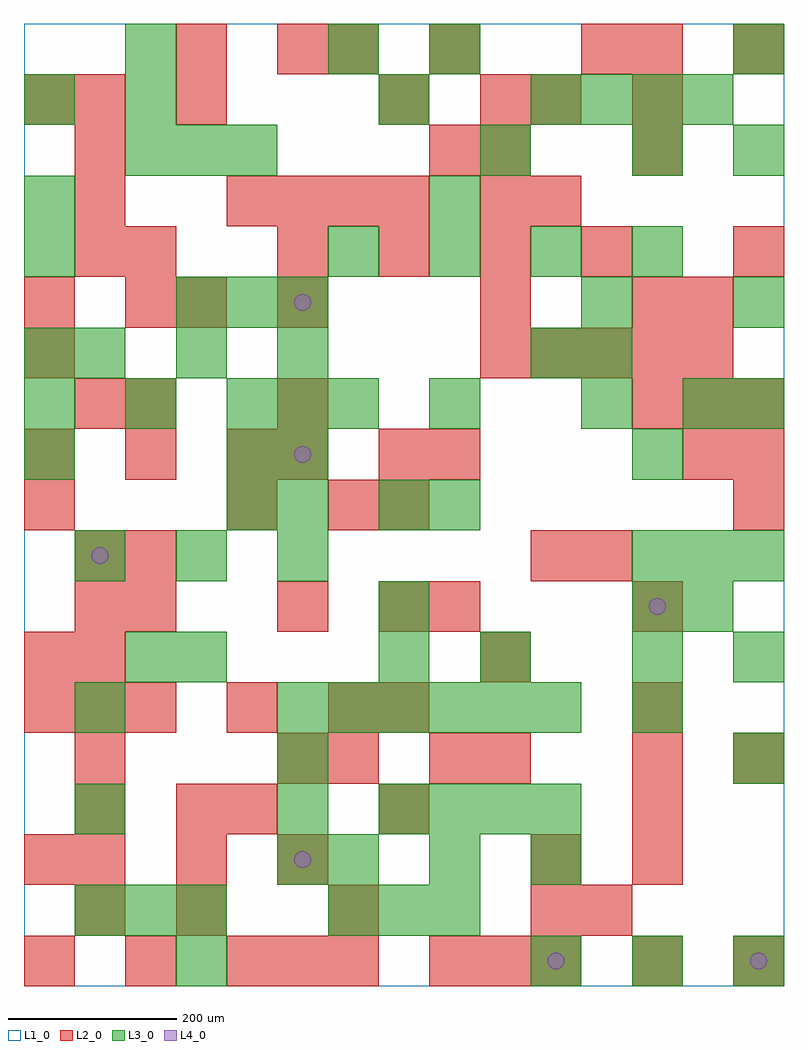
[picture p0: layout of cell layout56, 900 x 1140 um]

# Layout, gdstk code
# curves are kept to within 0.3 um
import gdstk
lib = gdstk.Library(unit=1e-6, precision=1e-09)
def R(c, l, rs):  # rectangles x0, y0, x1, y1
    for r in rs: c.add(gdstk.rectangle(r[:2], r[2:], *l))
def A(c, l, x, y, w, h, nx, ny, dx, dy):  # array of equal rectangles
    R(c, l, [(x+i*dx, y+j*dy, x+i*dx+w, y+j*dy+h) for i in range(nx) for j in range(ny)])
def P(c, l, *ps):  # polygons
    for p in ps: c.add(gdstk.Polygon(p, *l))
L1_0 = (1, 0)
L2_0 = (2, 0)
L3_0 = (3, 0)
L4_0 = (4, 0)

layout56 = lib.new_cell('layout56')
R(layout56, L1_0, [(0,0,900,1140)])
A(layout56, L2_0, 0, 0, 60, 60, 3, 2, 120, 600)
A(layout56, L2_0, 480, 0, 60, 60, 3, 1, 60, 0)
A(layout56, L2_0, 60, 120, 60, 60, 3, 1, 120, 0)
A(layout56, L2_0, 720, 120, 60, 60, 1, 4, 0, 60)
A(layout56, L2_0, 420, 180, 60, 60, 1, 4, 0, 120)
A(layout56, L2_0, 300, 240, 60, 60, 1, 3, 0, 180)
A(layout56, L2_0, 480, 240, 60, 60, 1, 3, 0, 180)
A(layout56, L2_0, 0, 300, 60, 60, 3, 1, 60, 0)
A(layout56, L2_0, 0, 360, 60, 60, 1, 3, 0, 180)
A(layout56, L2_0, 60, 360, 60, 60, 1, 3, 0, 60)
A(layout56, L2_0, 840, 600, 60, 60, 1, 3, 0, 240)
A(layout56, L2_0, 720, 660, 60, 60, 3, 1, 60, 0)
A(layout56, L2_0, 540, 720, 60, 60, 5, 1, 60, 0)
A(layout56, L2_0, 60, 840, 60, 60, 1, 4, 0, 60)
A(layout56, L2_0, 300, 840, 60, 60, 4, 1, 120, 0)
A(layout56, L2_0, 240, 900, 60, 60, 4, 1, 60, 0)
A(layout56, L2_0, 540, 900, 60, 60, 1, 3, 0, 60)
A(layout56, L2_0, 720, 960, 60, 60, 1, 3, 0, 60)
R(layout56, L2_0, [(300,0,360,60), (360,0,420,60), (720,0,780,60), (840,0,900,60), (60,60,120,120), (180,60,240,120), (360,60,420,120), (600,60,660,120), (660,60,720,120), (0,120,60,180), (600,120,660,180), (60,180,120,240), (180,180,240,240), (240,180,300,240), (60,240,120,300), (360,240,420,300), (540,240,600,300), (840,240,900,300), (240,300,300,360), (360,300,420,360), (540,360,600,420), (120,420,180,480), (720,420,780,480), (120,480,180,540), (600,480,660,540), (660,480,720,540), (240,540,300,600), (360,540,420,600), (840,540,900,600), (420,600,480,660), (780,600,840,660), (60,660,120,720), (120,660,180,720), (300,660,360,720), (0,780,60,840), (120,780,180,840), (180,780,240,840), (300,780,360,840), (540,780,600,840), (720,780,780,840), (780,780,840,840), (120,840,180,900), (600,900,660,960), (480,960,540,1020), (0,1020,60,1080), (180,1020,240,1080), (420,1020,480,1080), (600,1020,660,1080), (180,1080,240,1140), (300,1080,360,1140), (360,1080,420,1140), (480,1080,540,1140), (660,1080,720,1140)])
A(layout56, L3_0, 600, 0, 60, 60, 3, 1, 120, 0)
A(layout56, L3_0, 60, 60, 60, 60, 3, 1, 60, 0)
A(layout56, L3_0, 360, 60, 60, 60, 3, 1, 60, 0)
A(layout56, L3_0, 300, 120, 60, 60, 1, 3, 0, 60)
A(layout56, L3_0, 360, 120, 60, 60, 3, 1, 120, 0)
A(layout56, L3_0, 420, 180, 60, 60, 4, 1, 60, 0)
A(layout56, L3_0, 300, 300, 60, 60, 6, 1, 60, 0)
A(layout56, L3_0, 720, 300, 60, 60, 1, 3, 0, 60)
A(layout56, L3_0, 60, 480, 60, 60, 3, 2, 120, 240)
A(layout56, L3_0, 720, 480, 60, 60, 3, 1, 60, 0)
A(layout56, L3_0, 300, 540, 60, 60, 1, 3, 0, 60)
A(layout56, L3_0, 0, 600, 60, 60, 1, 3, 0, 120)
A(layout56, L3_0, 0, 660, 60, 60, 3, 1, 120, 0)
A(layout56, L3_0, 660, 660, 60, 60, 1, 3, 0, 60)
A(layout56, L3_0, 180, 780, 60, 60, 3, 1, 60, 0)
A(layout56, L3_0, 360, 840, 60, 60, 4, 1, 120, 0)
A(layout56, L3_0, 120, 960, 60, 60, 3, 1, 60, 0)
A(layout56, L3_0, 600, 1020, 60, 60, 4, 1, 60, 0)
R(layout56, L3_0, [(180,0,240,60), (60,180,120,240), (840,240,900,300), (60,300,120,360), (120,360,180,420), (180,360,240,420), (420,360,480,420), (540,360,600,420), (840,360,900,420), (420,420,480,480), (780,420,840,480), (240,540,300,600), (420,540,480,600), (480,540,540,600), (240,600,300,660), (720,600,780,660), (360,660,420,720), (480,660,540,720), (780,660,840,720), (840,660,900,720), (600,720,660,780), (840,780,900,840), (0,900,60,960), (480,900,540,960), (540,960,600,1020), (720,960,780,1020), (840,960,900,1020), (0,1020,60,1080), (120,1020,180,1080), (420,1020,480,1080), (120,1080,180,1140), (360,1080,420,1140), (480,1080,540,1140), (840,1080,900,1140)])
P(layout56, L4_0, [(100,510),(99.239,513.827),(97.071,517.071),(93.827,519.239),(90,520),(86.173,519.239),(82.929,517.071),(80.761,513.827),(80,510),(80.761,506.173),(82.929,502.929),(86.173,500.761),(90,500),(93.827,500.761),(97.071,502.929),(99.239,506.173)],
  [(340,150),(339.239,153.827),(337.071,157.071),(333.827,159.239),(330,160),(326.173,159.239),(322.929,157.071),(320.761,153.827),(320,150),(320.761,146.173),(322.929,142.929),(326.173,140.761),(330,140),(333.827,140.761),(337.071,142.929),(339.239,146.173)],
  [(340,630),(339.239,633.827),(337.071,637.071),(333.827,639.239),(330,640),(326.173,639.239),(322.929,637.071),(320.761,633.827),(320,630),(320.761,626.173),(322.929,622.929),(326.173,620.761),(330,620),(333.827,620.761),(337.071,622.929),(339.239,626.173)],
  [(340,810),(339.239,813.827),(337.071,817.071),(333.827,819.239),(330,820),(326.173,819.239),(322.929,817.071),(320.761,813.827),(320,810),(320.761,806.173),(322.929,802.929),(326.173,800.761),(330,800),(333.827,800.761),(337.071,802.929),(339.239,806.173)],
  [(640,30),(639.239,33.827),(637.071,37.071),(633.827,39.239),(630,40),(626.173,39.239),(622.929,37.071),(620.761,33.827),(620,30),(620.761,26.173),(622.929,22.929),(626.173,20.761),(630,20),(633.827,20.761),(637.071,22.929),(639.239,26.173)],
  [(760,450),(759.239,453.827),(757.071,457.071),(753.827,459.239),(750,460),(746.173,459.239),(742.929,457.071),(740.761,453.827),(740,450),(740.761,446.173),(742.929,442.929),(746.173,440.761),(750,440),(753.827,440.761),(757.071,442.929),(759.239,446.173)],
  [(880,30),(879.239,33.827),(877.071,37.071),(873.827,39.239),(870,40),(866.173,39.239),(862.929,37.071),(860.761,33.827),(860,30),(860.761,26.173),(862.929,22.929),(866.173,20.761),(870,20),(873.827,20.761),(877.071,22.929),(879.239,26.173)])

lib.write_gds('layout56.gds')
